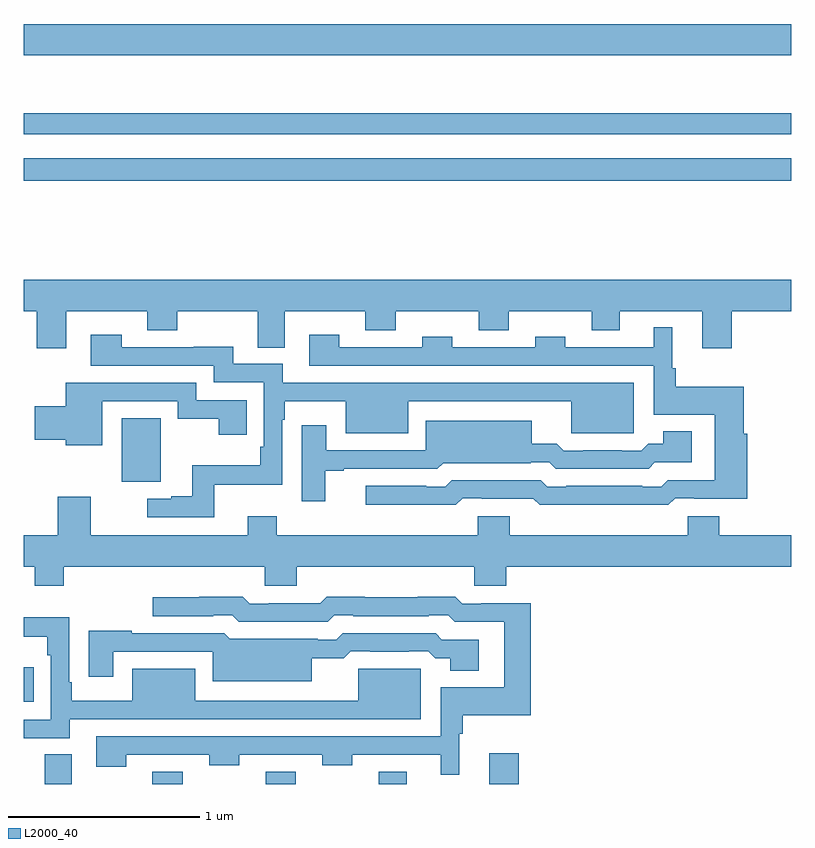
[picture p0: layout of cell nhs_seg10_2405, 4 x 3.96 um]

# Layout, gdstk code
import gdstk
lib = gdstk.Library(unit=1e-6, precision=1e-09)
def R(c, l, rs):  # rectangles x0, y0, x1, y1
    for r in rs: c.add(gdstk.rectangle(r[:2], r[2:], *l))
def P(c, l, *ps):  # polygons
    for p in ps: c.add(gdstk.Polygon(p, *l))
L2000_40 = (2000, 40)

nhs_seg10_2405 = lib.new_cell('nhs_seg10_2405')
R(nhs_seg10_2405, L2000_40, [(239.111,1316.5,239.251,1316.654), (239.671,1316.5,239.829,1316.563), (240.262,1316.5,240.417,1316.563), (240.85,1316.5,240.997,1316.563), (241.427,1316.5,241.58,1316.659), (239,1316.928,239.053,1317.109), (239.51,1318.076,239.713,1318.405), (239,1319.644,243,1319.76), (239,1319.886,243,1319.995), (239,1320.296,243,1320.46)])
P(nhs_seg10_2405, L2000_40, [(239.221,1318.964),(239.644,1318.964),(239.644,1318.865),(239.799,1318.865),(239.799,1318.964),(240.221,1318.964),(240.221,1318.774),(240.361,1318.774),(240.361,1318.964),(240.781,1318.964),(240.781,1318.865),(240.939,1318.865),(240.939,1318.964),(241.372,1318.964),(241.372,1318.865),(241.527,1318.865),(241.527,1318.964),(241.96,1318.964),(241.96,1318.865),(242.107,1318.865),(242.107,1318.964),(242.537,1318.964),(242.537,1318.77),(242.69,1318.77),(242.69,1318.964),(243,1318.964),(243,1319.128),(239,1319.128),(239,1318.964),(239.069,1318.964),(239.069,1318.77),(239.221,1318.77)],
  [(241.287,1317.99),(241.387,1317.99),(241.387,1317.986),(241.655,1317.986),(241.688,1317.954),(241.886,1317.954),(241.886,1317.956),(242.164,1317.956),(242.164,1317.954),(242.359,1317.954),(242.395,1317.99),(242.494,1317.99),(242.494,1317.987),(242.771,1317.987),(242.771,1318.326),(242.753,1318.326),(242.753,1318.57),(242.399,1318.57),(242.399,1318.666),(242.38,1318.666),(242.38,1318.879),(242.282,1318.879),(242.282,1318.776),(241.821,1318.776),(241.821,1318.831),(241.666,1318.831),(241.666,1318.776),(241.233,1318.776),(241.233,1318.831),(241.078,1318.831),(241.078,1318.776),(240.645,1318.776),(240.645,1318.84),(240.489,1318.84),(240.489,1318.68),(242.283,1318.68),(242.283,1318.424),(242.6,1318.424),(242.6,1318.083),(242.355,1318.083),(242.322,1318.05),(242.222,1318.05),(242.222,1318.053),(241.828,1318.053),(241.828,1318.05),(241.728,1318.05),(241.695,1318.083),(241.23,1318.083),(241.197,1318.05),(241.097,1318.05),(241.097,1318.053),(240.783,1318.053),(240.783,1317.956),(241.026,1317.956),(241.026,1317.954),(241.251,1317.954)],
  [(239.992,1318.058),(240.348,1318.058),(240.348,1318.397),(240.361,1318.397),(240.361,1318.494),(240.677,1318.494),(240.677,1318.328),(241.003,1318.328),(241.003,1318.494),(241.853,1318.494),(241.853,1318.328),(242.179,1318.328),(242.179,1318.591),(241.957,1318.591),(241.957,1318.59),(240.349,1318.59),(240.349,1318.689),(240.091,1318.689),(240.091,1318.778),(239.887,1318.778),(239.887,1318.776),(239.51,1318.776),(239.51,1318.84),(239.349,1318.84),(239.349,1318.68),(239.99,1318.68),(239.99,1318.593),(240.252,1318.593),(240.252,1318.258),(240.232,1318.258),(240.232,1318.162),(239.879,1318.162),(239.879,1318),(239.769,1318),(239.769,1317.987),(239.643,1317.987),(239.643,1317.891),(239.992,1317.891)],
  [(239.41,1318.494),(239.802,1318.494),(239.802,1318.402),(240.016,1318.402),(240.016,1318.32),(240.163,1318.32),(240.163,1318.5),(239.898,1318.5),(239.898,1318.59),(239.219,1318.59),(239.219,1318.467),(239.058,1318.467),(239.058,1318.294),(239.219,1318.294),(239.219,1318.265),(239.41,1318.265)],
  [(240.571,1318.131),(240.667,1318.131),(240.667,1318.143),(241.156,1318.143),(241.185,1318.172),(241.643,1318.172),(241.643,1318.176),(241.739,1318.176),(241.772,1318.143),(242.256,1318.143),(242.289,1318.176),(242.482,1318.176),(242.482,1318.339),(242.333,1318.339),(242.333,1318.273),(242.254,1318.273),(242.217,1318.236),(242.117,1318.236),(242.117,1318.239),(241.915,1318.239),(241.915,1318.236),(241.815,1318.236),(241.777,1318.274),(241.648,1318.274),(241.648,1318.393),(241.095,1318.393),(241.095,1318.239),(240.577,1318.239),(240.577,1318.369),(240.449,1318.369),(240.449,1317.972),(240.571,1317.972)],
  [(239.21,1317.632),(240.257,1317.632),(240.257,1317.533),(240.422,1317.533),(240.422,1317.632),(241.349,1317.632),(241.349,1317.533),(241.514,1317.533),(241.514,1317.632),(243,1317.632),(243,1317.796),(242.624,1317.796),(242.624,1317.895),(242.459,1317.895),(242.459,1317.796),(241.532,1317.796),(241.532,1317.895),(241.367,1317.895),(241.367,1317.796),(240.32,1317.796),(240.32,1317.895),(240.167,1317.895),(240.167,1317.796),(239.349,1317.796),(239.349,1317.997),(239.177,1317.997),(239.177,1317.796),(239,1317.796),(239,1317.632),(239.057,1317.632),(239.057,1317.533),(239.21,1317.533)],
  [(241.27,1316.762),(241.289,1316.762),(241.289,1316.858),(241.643,1316.858),(241.643,1317.441),(241.384,1317.441),(241.384,1317.438),(241.285,1317.438),(241.249,1317.475),(241.054,1317.475),(241.054,1317.472),(240.776,1317.472),(240.776,1317.475),(240.578,1317.475),(240.545,1317.442),(240.277,1317.442),(240.277,1317.438),(240.177,1317.438),(240.141,1317.475),(239.916,1317.475),(239.916,1317.472),(239.673,1317.472),(239.673,1317.375),(239.987,1317.375),(239.987,1317.378),(240.087,1317.378),(240.12,1317.345),(240.585,1317.345),(240.618,1317.378),(240.718,1317.378),(240.718,1317.375),(241.112,1317.375),(241.112,1317.378),(241.212,1317.378),(241.245,1317.345),(241.505,1317.345),(241.505,1317.004),(241.173,1317.004),(241.173,1316.748),(239.379,1316.748),(239.379,1316.589),(239.535,1316.589),(239.535,1316.652),(239.968,1316.652),(239.968,1316.597),(240.123,1316.597),(240.123,1316.652),(240.556,1316.652),(240.556,1316.597),(240.711,1316.597),(240.711,1316.652),(241.172,1316.652),(241.172,1316.549),(241.27,1316.549)],
  [(239.239,1316.838),(240.847,1316.838),(240.847,1316.837),(241.069,1316.837),(241.069,1317.1),(240.743,1317.1),(240.743,1316.934),(239.893,1316.934),(239.893,1317.1),(239.567,1317.1),(239.567,1316.934),(239.251,1316.934),(239.251,1317.031),(239.238,1317.031),(239.238,1317.37),(239,1317.37),(239,1317.266),(239.122,1317.266),(239.122,1317.17),(239.142,1317.17),(239.142,1316.835),(239,1316.835),(239,1316.739),(239.239,1316.739)],
  [(240.502,1317.154),(240.667,1317.154),(240.705,1317.192),(240.805,1317.192),(240.805,1317.189),(241.007,1317.189),(241.007,1317.192),(241.107,1317.192),(241.144,1317.156),(241.223,1317.156),(241.223,1317.089),(241.372,1317.089),(241.372,1317.252),(241.179,1317.252),(241.146,1317.285),(240.662,1317.285),(240.629,1317.252),(240.533,1317.252),(240.533,1317.256),(240.075,1317.256),(240.046,1317.285),(239.563,1317.285),(239.563,1317.298),(239.339,1317.298),(239.339,1317.06),(239.467,1317.06),(239.467,1317.189),(239.985,1317.189),(239.985,1317.035),(240.502,1317.035)])

lib.write_gds('nhs_seg10_2405.gds')
